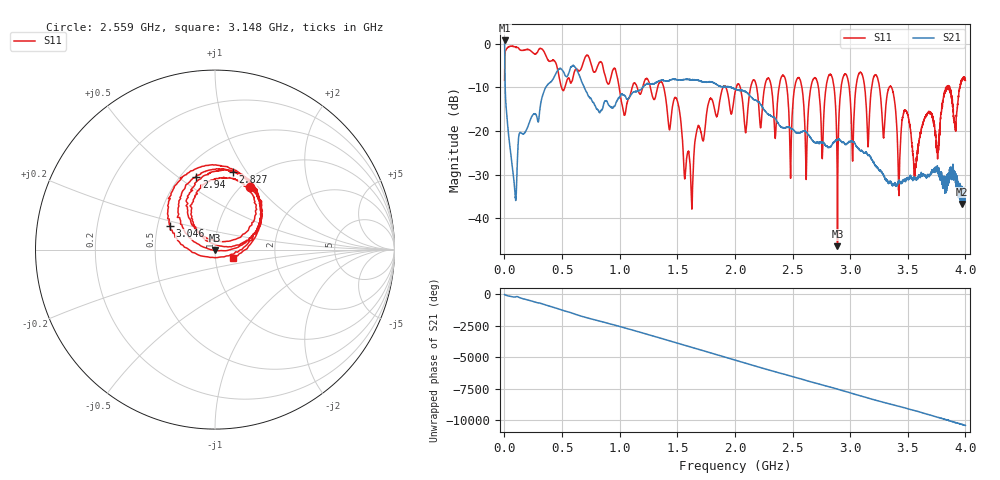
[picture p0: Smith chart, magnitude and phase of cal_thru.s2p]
!Created with skrf (http://scikit-rf.org).
# GHz S RI R 50.0
!freq ReS11 ImS11 ReS21 ImS21 ReS12 ImS12 ReS22 ImS22
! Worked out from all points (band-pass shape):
!   4000 points, 1 MHz to 4 GHz, reference 50 ohm
!   highest |S21| = 0.77 dB at 1 MHz (marker M1); lowest = -36.8 dB at 3.97 GHz (marker M2)
!   |S21| within 3 dB of the highest: start of sweep to 1.912 MHz
!   lowest |S11| = -46.4 dB at 2.89 GHz (marker M3), VSWR 1.01, Z = 49.9 - j0.464 ohm
!   |S11| at or under -10 dB: 995.2 MHz to 1.108 GHz (112.6 MHz wide, 10.7 % of centre); 1.382 GHz to 1.896 GHz (513.2 MHz wide, 31.3 % of centre); 3.358 GHz to 3.831 GHz (473.1 MHz wide, 13.2 % of centre) (the widest 3 of 25)
!   S12 and S22 are empty: the file has one direction only
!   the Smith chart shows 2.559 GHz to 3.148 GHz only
!   S11 on the Smith chart (normalised r, x): 2.559 GHz: 1.09, +0.91; 2.827 GHz: 0.80, +0.87; 2.94 GHz: 0.60, +0.58; 3.046 GHz: 0.58, +0.16; 3.148 GHz: 1.22, -0.11
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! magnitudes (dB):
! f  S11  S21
! 1 MHz  -8.4  0.8
! 89 MHz  -0.7  -33.5
! 366 MHz  -3.1  -9.7
! 668 MHz  -5.5  -8.5
! 1.334 GHz  -9.5  -8.6
! 1.623 GHz  -35.9  -8.3
! 2.001 GHz  -11.1  -10.4
! 2.421 GHz  -7.3  -19.3
! 2.483 GHz  -30.9  -19.3
! 2.559 GHz  -7.9  -20.5
! 2.618 GHz  -31.1  -20.3
! 2.667 GHz  -9.0  -22.1
! 2.759 GHz  -25.8  -22.7
! 2.827 GHz  -7.0  -23.7
! 2.89 GHz  -46.4  -22.0
! 2.94 GHz  -7.6  -22.6
! 3.046 GHz  -11.0  -23.1
! 3.148 GHz  -19.0  -25.1
! 3.334 GHz  -10.3  -32.1
! 3.563 GHz  -29.5  -31.2
! 3.97 GHz  -8.5  -36.8
! 4 GHz  -8.4  -33.8
